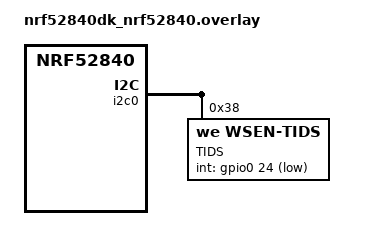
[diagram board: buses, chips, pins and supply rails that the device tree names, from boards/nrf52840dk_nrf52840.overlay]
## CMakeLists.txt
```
# Copyright (c) 2022 Würth Elektronik eiSos GmbH & Co. KG
# SPDX-License-Identifier: Apache-2.0

cmake_minimum_required(VERSION 3.20.0)
find_package(Zephyr REQUIRED HINTS $ENV{ZEPHYR_BASE})
project(wsen_tids)

FILE(GLOB app_sources src/*.c)
target_sources(app PRIVATE ${app_sources})
```

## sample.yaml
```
sample:
  name: WSEN-TIDS Sensor Sample
tests:
  sample.sensor.wsen-tids:
    harness: sensor
    tags: sensors
    depends_on: i2c tids
    filter: dt_compat_enabled("we,wsen-tids")
```

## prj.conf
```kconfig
###### Basic configuration required for using sensors ######
CONFIG_I2C=y
CONFIG_SENSOR=y

###### Configuration of WSEN-TIDS ######
CONFIG_TIDS=y
# CONFIG_TIDS_ODR=200
CONFIG_TIDS_TRIGGER_NONE=y
# CONFIG_TIDS_TRIGGER_GLOBAL_THREAD=y
# CONFIG_TIDS_TRIGGER_OWN_THREAD=y
# CONFIG_TIDS_TEMP_LO_THRESHOLD=10
# CONFIG_TIDS_TEMP_HI_THRESHOLD=27

###### Log config ######
CONFIG_STDOUT_CONSOLE=y
CONFIG_LOG=y
# The following two parameters are required to enable float log support
CONFIG_CBPRINTF_FP_SUPPORT=y
CONFIG_LOG_MODE_DEFERRED=y
```

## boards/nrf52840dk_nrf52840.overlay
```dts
/*
 * Copyright (c) 2022 Würth Elektronik eiSos GmbH & Co. KG
 *
 * SPDX-License-Identifier: Apache-2.0
 */

&i2c0 {
	tids@38 {
		compatible = "we,wsen-tids";
		reg = <0x38>;
		label = "TIDS";
		int-gpios = <&gpio0 24 GPIO_ACTIVE_LOW>;
	};
};
```

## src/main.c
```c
/*
 * Copyright (c) 2022 Würth Elektronik eiSos GmbH & Co. KG
 *
 * SPDX-License-Identifier: Apache-2.0
 */

#include <zephyr/device.h>
#include <zephyr/drivers/sensor.h>
#include <zephyr/logging/log.h>
#include <zephyr/zephyr.h>

LOG_MODULE_REGISTER(MAIN);

static void process_sample(const struct device *dev)
{
	static unsigned int sample_count;
	struct sensor_value temperature;

	if (sensor_sample_fetch(dev) < 0) {
		LOG_ERR("Failed to fetch TIDS sensor sample.");
		return;
	}

	if (sensor_channel_get(dev, SENSOR_CHAN_AMBIENT_TEMP, &temperature) < 0) {
		LOG_ERR("Failed to read TIDS temperature channel.");
		return;
	}

	++sample_count;
	LOG_INF("Sample #%u", sample_count);

	/* Display temperature */
	LOG_INF("Temperature: %.1f C", sensor_value_to_double(&temperature));
}

static void tids_threshold_interrupt_handler(const struct device *dev,
					     const struct sensor_trigger *trig)
{
	LOG_INF("Threshold interrupt triggered.");
}

void main(void)
{
	const struct device *dev = device_get_binding("TIDS");

	if (dev == NULL) {
		LOG_ERR("Failed to get TIDS device.");
		return;
	}

	LOG_INF("TIDS device initialized.");

	if (IS_ENABLED(CONFIG_TIDS_TRIGGER)) {
		struct sensor_trigger trig = {
			.type = SENSOR_TRIG_THRESHOLD,
			.chan = SENSOR_CHAN_ALL,
		};
		if (sensor_trigger_set(dev, &trig, tids_threshold_interrupt_handler) < 0) {
			LOG_ERR("Failed to configure trigger.");
			return;
		}
	}

	while (1) {
		process_sample(dev);
		k_sleep(K_MSEC(2000));
	}

	k_sleep(K_FOREVER);
}
```
